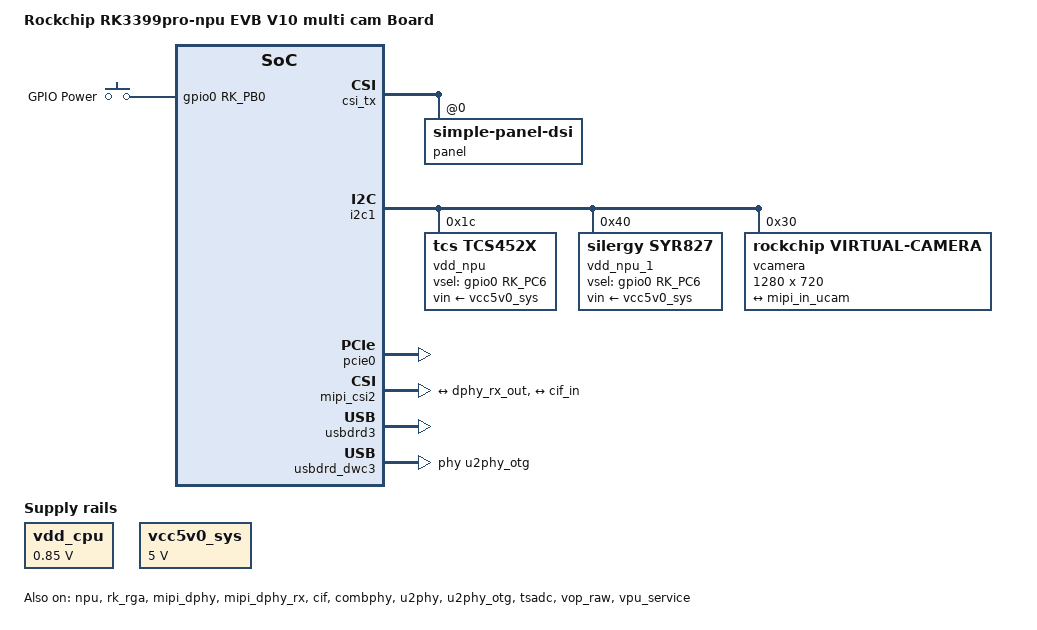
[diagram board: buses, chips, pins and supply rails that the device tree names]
// SPDX-License-Identifier: (GPL-2.0+ OR MIT)
/*
 * Copyright (c) 2018 Fuzhou Rockchip Electronics Co., Ltd
 */

/dts-v1/;
#include <dt-bindings/gpio/gpio.h>
#include <dt-bindings/pinctrl/rockchip.h>
#include "rk3399pro-npu.dtsi"
#include <dt-bindings/display/drm_mipi_dsi.h>
#include <dt-bindings/display/media-bus-format.h>

/ {
	model = "Rockchip RK3399pro-npu EVB V10 multi cam Board";
	compatible = "rockchip,rk3399pro-npu-evb-v10-multi-cam", "rockchip,rk3399pro-npu";

	chosen {
		bootargs = "earlycon=uart8250,mmio32,0xff550000 console=ttyFIQ0 init=/init swiotlb=1 kpti=0";
	};

	reserved-memory {
		#address-cells = <2>;
		#size-cells = <2>;
		ranges;

		dma_trans: dma_trans@3c000000 {
			reg = <0x0 0x3c000000 0x0 0x04000000>;
		};
	};

	keys: gpio-keys {
		compatible = "gpio-keys";
		pinctrl-names = "default";
		pinctrl-0 = <&pwr_key>;

		power {
			gpios = <&gpio0 RK_PB0 GPIO_ACTIVE_HIGH>;
			label = "GPIO Power";
			linux,code = <116>;
			wakeup-source;
		};
	};

	fiq-debugger {
		compatible = "rockchip,fiq-debugger";
		rockchip,serial-id = <2>;
		rockchip,wake-irq = <0>;
		/* If enable uart uses irq instead of fiq */
		rockchip,irq-mode-enable = <0>;
		rockchip,baudrate = <1500000>;  /* Only 115200 and 1500000 */
		interrupts = <GIC_SPI 242 IRQ_TYPE_LEVEL_HIGH>;
		pinctrl-names = "default";
		pinctrl-0 = <&uart2m0_xfer>;
		status = "okay";
	};

	vdd_cpu: vdd-cpu {
		compatible = "regulator-fixed";
		regulator-name = "vdd_cpu";
		regulator-always-on;
		regulator-boot-on;
		regulator-min-microvolt = <850000>;
		regulator-max-microvolt = <850000>;
	};

	vcc5v0_sys: vcc5v0-sys {
		compatible = "regulator-fixed";
		regulator-name = "vcc5v0_sys";
		regulator-always-on;
		regulator-boot-on;
		regulator-min-microvolt = <5000000>;
		regulator-max-microvolt = <5000000>;
	};

	display_subsystem: display-subsystem {
		compatible = "rockchip,display-subsystem";
		ports = <&vop_lite_out>, <&vop_raw_out>;
		status = "okay";

		route {
			route_csi: route-csi {
				status = "disabled";
				connect = <&vop_raw_out_csi>;
			};

			route_dsi: route-dsi {
				status = "disabled";
				connect = <&vop_lite_out_dsi>;
			};

			route_rgb: route-rgb {
				status = "disabled";
				connect = <&vop_lite_out_rgb>;
			};
		};
	};
};

&cpu0 {
	cpu-supply = <&vdd_cpu>;
};

&cpu1 {
	cpu-supply = <&vdd_cpu>;
};

&csi_tx {
	status = "okay";

	panel@0 {
		compatible = "simple-panel-dsi";
		reg = <0>;
		dsi,flags = <(MIPI_DSI_MODE_VIDEO | MIPI_DSI_MODE_VIDEO_BURST |
			      MIPI_DSI_MODE_LPM | MIPI_DSI_MODE_EOT_PACKET |
			      MIPI_DSI_CLOCK_NON_CONTINUOUS)>;
		dsi,format = <MIPI_CSI_FMT_YUV422_8BIT>;
		dsi,lanes = <4>;

		display-timings {
			native-mode = <&timing_5120>;

			timing_1280x3_720: timing-1280x3-720 {
				clock-frequency = <80000000>;
				hactive = <3840>;
				vactive = <720>;
				hfront-porch = <1200>;
				hsync-len = <500>;
				hback-porch = <30>;
				vfront-porch = <40>;
				vsync-len = <20>;
				vback-porch = <40>;
				hsync-active = <0>;
				vsync-active = <0>;
				de-active = <0>;
				pixelclk-active = <0>;
			};

			timing_5120: timing-5120 {
				clock-frequency = <80000000>;
				hactive = <5120>;
				vactive = <1440>;
				hfront-porch = <1500>;
				hsync-len = <500>;
				hback-porch = <30>;
				vfront-porch = <40>;
				vsync-len = <20>;
				vback-porch = <40>;
				hsync-active = <0>;
				vsync-active = <0>;
				de-active = <0>;
				pixelclk-active = <0>;
			 };

			timing_4k: timing-4k {
				clock-frequency = <250000000>;
				hactive = <3840>;
				vactive = <2160>;
				hfront-porch = <1500>;
				hsync-len = <500>;
				hback-porch = <30>;
				vfront-porch = <40>;
				vsync-len = <20>;
				vback-porch = <40>;
				hsync-active = <0>;
				vsync-active = <0>;
				de-active = <0>;
				pixelclk-active = <0>;
			};
			timing_4096: timing-4096 {
				clock-frequency = <190000000>;
				hactive = <4096>;
				vactive = <2048>;
				hfront-porch = <1500>;
				hsync-len = <500>;
				hback-porch = <30>;
				vfront-porch = <40>;
				vsync-len = <20>;
				vback-porch = <40>;
				hsync-active = <0>;
				vsync-active = <0>;
				de-active = <0>;
				pixelclk-active = <0>;
			};
			timing_1920x3_1080: timing-1920x3-1080 {
				clock-frequency = <250000000>;
				hactive = <5760>;
				vactive = <1080>;
				hfront-porch = <1500>;
				hsync-len = <70>;
				hback-porch = <30>;
				vfront-porch = <40>;
				vsync-len = <20>;
				vback-porch = <40>;
				hsync-active = <0>;
				vsync-active = <0>;
				de-active = <0>;
				pixelclk-active = <0>;
			};
		};
	};
};

&i2c1 {
	status = "okay";

	vdd_npu: tcs452x@1c {
		compatible = "tcs,tcs452x";
		reg = <0x1c>;
		vin-supply = <&vcc5v0_sys>;
		regulator-compatible = "fan53555-reg";
		pinctrl-0 = <&vsel_gpio>;
		vsel-gpios = <&gpio0 RK_PC6 GPIO_ACTIVE_HIGH>;
		regulator-name = "vdd_npu";
		regulator-min-microvolt = <750000>;
		regulator-max-microvolt = <880000>;
		regulator-init-microvolt = <880000>;
		regulator-ramp-delay = <2300>;
		fcs,suspend-voltage-selector = <1>;
		regulator-always-on;
		regulator-boot-on;
		regulator-initial-state = <3>;
		regulator-state-mem {
			regulator-off-in-suspend;
		};
	};

	vdd_npu_1: syr837@40 {
		compatible = "silergy,syr827";
		reg = <0x40>;
		vin-supply = <&vcc5v0_sys>;
		regulator-compatible = "fan53555-reg";
		pinctrl-0 = <&vsel_gpio>;
		vsel-gpios = <&gpio0 RK_PC6 GPIO_ACTIVE_HIGH>;
		regulator-name = "vdd_npu_1";
		regulator-min-microvolt = <750000>;
		regulator-max-microvolt = <880000>;
		regulator-init-microvolt = <880000>;
		regulator-ramp-delay = <2300>;
		fcs,suspend-voltage-selector = <1>;
		regulator-always-on;
		regulator-boot-on;
		regulator-initial-state = <3>;
		regulator-state-mem {
			regulator-off-in-suspend;
		};
	};

	vcamera@30 {
		compatible = "rockchip,virtual-camera";
		reg = <0x30>;
		width = <1280>;
		height = <720>;
		bus-format = <MEDIA_BUS_FMT_UYVY8_2X8>;

		port {
			vcamera_out: endpoint {
				remote-endpoint = <&mipi_in_ucam>;
				link-frequencies = /bits/ 64 <320000000>;
			};
		};
	};
};

&npu {
	npu-supply = <&vdd_npu>;
	npu_1-supply = <&vdd_npu_1>;
	status = "okay";
};

&pcie0 {
	/delete-property/ reset-gpios;
	memory-region = <&dma_trans>;
	busno = <1>;
	status = "okay";
};

&rk_rga {
	status =  "okay";
};

&isp_mmu {
	status = "okay";
};

&mipi_dphy {
	status = "okay";
};

&mipi_dphy_rx {
	status = "okay";

	ports {
		#address-cells = <1>;
		#size-cells = <0>;

		port@0 {
			reg = <0>;
			#address-cells = <1>;
			#size-cells = <0>;

			mipi_in_ucam: endpoint@1 {
				reg = <1>;
				remote-endpoint = <&vcamera_out>;
				data-lanes = <1 2 3 4>;
			};
		};

		port@1 {
			reg = <1>;
			#address-cells = <1>;
			#size-cells = <0>;

			dphy_rx_out: endpoint@0 {
				reg = <0>;
				remote-endpoint = <&csi2_in>;
			};
		};
	};
};

&mipi_csi2 {
	status = "okay";

	ports {
		#address-cells = <1>;
		#size-cells = <0>;

		port@0 {
			reg = <0>;
			#address-cells = <1>;
			#size-cells = <0>;

			csi2_in: endpoint@1 {
				reg = <1>;
				remote-endpoint = <&dphy_rx_out>;
				data-lanes = <1 2 3 4>;
			};
		};

		port@1 {
			reg = <1>;
			#address-cells = <1>;
			#size-cells = <0>;

			csi2_out: endpoint@0 {
				reg = <0>;
				remote-endpoint = <&cif_in>;
				data-lanes = <1 2 3 4>;
			};
		};
	};
};

&cif {
	status = "okay";

	port {
		cif_in: endpoint@0 {
			remote-endpoint = <&csi2_out>;
			data-lanes = <1 2 3 4>;
		};
	};
};

&cif_mmu {
	status = "okay";
};

&combphy {
	status = "okay";
};

&u2phy {
	status = "okay";
};

&u2phy_otg {
	status = "okay";
};

&usbdrd3 {
	status = "okay";
};

&usbdrd_dwc3 {
	maximum-speed = "high-speed";
	phys = <&u2phy_otg>;
	phy-names = "usb2-phy";
	status = "okay";
};

&tsadc {
	rockchip,hw-tshut-mode = <1>; /* tshut mode 0:CRU 1:GPIO */
	rockchip,hw-tshut-polarity = <1>; /* tshut polarity 0:LOW 1:HIGH */
	pinctrl-names = "init", "default";
	pinctrl-0 = <&tsadc_otp_gpio>;
	pinctrl-1 = <&tsadc_otp_out>;
	status = "okay";
};

&pinctrl {
	vdd-npu-sleep {
		vsel_gpio: vsel-gpio {
			rockchip,pins =
				<0 RK_PC6 0 &pcfg_pull_down>;
		};
	};

	key {
		pwr_key: pwr-key {
			rockchip,pins =
				<0 RK_PB0 0 &pcfg_pull_none>;
		};
	};

	rockchip-suspend {
		clk_gpio: clk-gpio {
			rockchip,pins =
				<0 RK_PC2 0 &pcfg_pull_down>;
		};
	};
};

&rockchip_suspend {
	status = "okay";
	rockchip,sleep-debug-en = <1>;
	pinctrl-names = "default";
	pinctrl-0 = <&clk_gpio>;
};

&vop_raw {
	status = "okay";
	assigned-clocks = <&cru DCLK_VOPRAW>;
	assigned-clock-rates = <80000000>;
};

&vopr_mmu {
	status = "okay";
};

&vpu_mmu {
	status = "okay";
};

&vpu_service {
	status = "okay";
};
